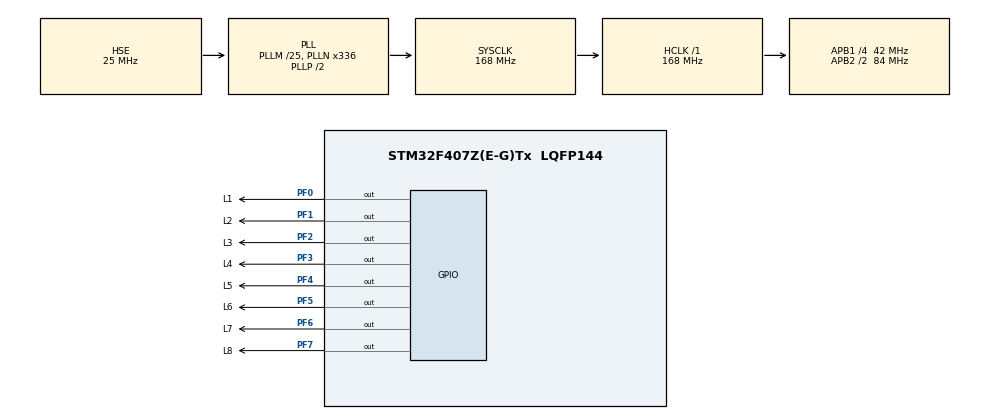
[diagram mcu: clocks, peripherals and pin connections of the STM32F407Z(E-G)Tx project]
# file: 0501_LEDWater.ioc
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Mcu.Family=STM32F4
Mcu.Name=STM32F407Z(E-G)Tx
Mcu.Package=LQFP144
NVIC.PriorityGroup=NVIC_PRIORITYGROUP_4
PA13.Mode=Serial_Wire
PA13.Signal=SYS_JTMS-SWDIO
PA14.Mode=Serial_Wire
PA14.Signal=SYS_JTCK-SWCLK
PC14-OSC32_IN.Mode=LSE-External-Oscillator
PC14-OSC32_IN.Signal=RCC_OSC32_IN
PC15-OSC32_OUT.Mode=LSE-External-Oscillator
PC15-OSC32_OUT.Signal=RCC_OSC32_OUT
PF0.GPIO_Label=L1
PF0.Signal=GPIO_Output
PF1.GPIO_Label=L2
PF1.Signal=GPIO_Output
PF2.GPIO_Label=L3
PF2.Signal=GPIO_Output
PF3.GPIO_Label=L4
PF3.Signal=GPIO_Output
PF4.GPIO_Label=L5
PF4.Signal=GPIO_Output
PF5.GPIO_Label=L6
PF5.Signal=GPIO_Output
PF6.GPIO_Label=L7
PF6.Signal=GPIO_Output
PF7.GPIO_Label=L8
PF7.Signal=GPIO_Output
PH0-OSC_IN.Mode=HSE-External-Oscillator
PH0-OSC_IN.Signal=RCC_OSC_IN
PH1-OSC_OUT.Mode=HSE-External-Oscillator
PH1-OSC_OUT.Signal=RCC_OSC_OUT
ProjectManager.HeapSize=0x200
ProjectManager.StackSize=0x400
ProjectManager.TargetToolchain=STM32CubeIDE
RCC.48MHZClocksFreq_Value=84000000
RCC.AHBFreq_Value=168000000
RCC.APB1CLKDivider=RCC_HCLK_DIV4
RCC.APB1Freq_Value=42000000
RCC.APB1TimFreq_Value=84000000
RCC.APB2CLKDivider=RCC_HCLK_DIV2
RCC.APB2Freq_Value=84000000
RCC.APB2TimFreq_Value=168000000
RCC.CortexFreq_Value=168000000
RCC.HCLKFreq_Value=168000000
RCC.HSE_VALUE=25000000
RCC.HSI_VALUE=16000000
RCC.PLLM=25
RCC.PLLN=336
RCC.PLLSourceVirtual=RCC_PLLSOURCE_HSE
RCC.SYSCLKFreq_VALUE=168000000
RCC.SYSCLKSource=RCC_SYSCLKSOURCE_PLLCLK
RCC.VCOOutputFreq_Value=336000000
board=custom

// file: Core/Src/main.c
/* USER CODE BEGIN Header */
/**
  ******************************************************************************
  * @file           : main.c
  * @brief          : Main program body
  ******************************************************************************
  * @attention
  *
  * Copyright (c) 2026 STMicroelectronics.
  * All rights reserved.
  *
  * This software is licensed under terms that can be found in the LICENSE file
  * in the root directory of this software component.
  * If no LICENSE file comes with this software, it is provided AS-IS.
  *
  ******************************************************************************
  */
/* USER CODE END Header */
#include "main.h"
#include "gpio.h"

void SystemClock_Config(void);

int main(void)
{

  /* MCU Configuration--------------------------------------------------------*/

  /* Reset of all peripherals, Initializes the Flash interface and the Systick. */
  HAL_Init();

  /* Configure the system clock */
  SystemClock_Config();

  /* Initialize all configured peripherals */
  MX_GPIO_Init();

  /* Infinite loop */
  /* USER CODE BEGIN WHILE */
	while (1)
	{
		// L1(PF0)亮
		    GPIOF->ODR = 0xFE;
		    HAL_Delay(100);
		    // L2(PF1)亮
		    GPIOF->ODR = 0xFD;
		    HAL_Delay(100);
		    // L3(PF2)亮
		    GPIOF->ODR = 0xFB;
		    HAL_Delay(100);
		    // L4(PF3)亮
		    GPIOF->ODR = 0xF7;
		    HAL_Delay(100);
		    // L5(PF4)亮
		    GPIOF->ODR = 0xEF;
		    HAL_Delay(100);
		    // L6(PF5)亮
		    GPIOF->ODR = 0xDF;
		    HAL_Delay(100);
		    // L7(PF6)亮
		    GPIOF->ODR = 0xBF;
		    HAL_Delay(100);
		    // L8(PF7)亮
		    GPIOF->ODR = 0x7F;
		    HAL_Delay(100);
		  }
    /* USER CODE END WHILE */

  }

void SystemClock_Config(void)
{
  RCC_OscInitTypeDef RCC_OscInitStruct = {0};
  RCC_ClkInitTypeDef RCC_ClkInitStruct = {0};

  /** Configure the main internal regulator output voltage
  */
  __HAL_RCC_PWR_CLK_ENABLE();
  __HAL_PWR_VOLTAGESCALING_CONFIG(PWR_REGULATOR_VOLTAGE_SCALE1);

  /** Initializes the RCC Oscillators according to the specified parameters
  * in the RCC_OscInitTypeDef structure.
  */
  RCC_OscInitStruct.OscillatorType = RCC_OSCILLATORTYPE_HSE;
  RCC_OscInitStruct.HSEState = RCC_HSE_ON;
  RCC_OscInitStruct.PLL.PLLState = RCC_PLL_ON;
  RCC_OscInitStruct.PLL.PLLSource = RCC_PLLSOURCE_HSE;
  RCC_OscInitStruct.PLL.PLLM = 25;
  RCC_OscInitStruct.PLL.PLLN = 336;
  RCC_OscInitStruct.PLL.PLLP = RCC_PLLP_DIV2;
  RCC_OscInitStruct.PLL.PLLQ = 4;
  if (HAL_RCC_OscConfig(&RCC_OscInitStruct) != HAL_OK)
  {
    Error_Handler();
  }

  /** Initializes the CPU, AHB and APB buses clocks
  */
  RCC_ClkInitStruct.ClockType = RCC_CLOCKTYPE_HCLK|RCC_CLOCKTYPE_SYSCLK
                              |RCC_CLOCKTYPE_PCLK1|RCC_CLOCKTYPE_PCLK2;
  RCC_ClkInitStruct.SYSCLKSource = RCC_SYSCLKSOURCE_PLLCLK;
  RCC_ClkInitStruct.AHBCLKDivider = RCC_SYSCLK_DIV1;
  RCC_ClkInitStruct.APB1CLKDivider = RCC_HCLK_DIV4;
  RCC_ClkInitStruct.APB2CLKDivider = RCC_HCLK_DIV2;

  if (HAL_RCC_ClockConfig(&RCC_ClkInitStruct, FLASH_LATENCY_5) != HAL_OK)
  {
    Error_Handler();
  }
}

void Error_Handler(void)
{
  __disable_irq();
  while (1)
  {
  }
}
